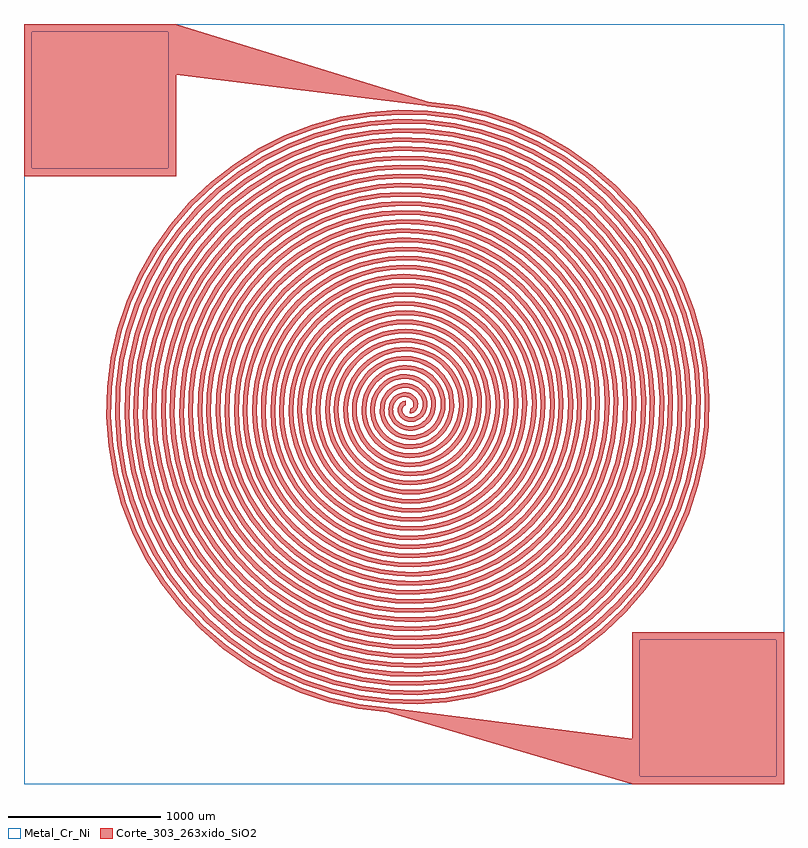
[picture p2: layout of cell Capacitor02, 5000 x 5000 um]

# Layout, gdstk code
from math import pi, radians
import gdstk
lib = gdstk.Library(unit=1e-6, precision=1e-06)
def P(c, l, *ps):  # polygons
    for p in ps: c.add(gdstk.Polygon(p, *l))
Corte_303_263xido_SiO2 = (1, 0)
Metal_Cr_Ni = (2, 0)

spiral_2 = lib.new_cell('Spiral$2')
spiral_2.add(gdstk.FlexPath([(30,0),(32,3),(33,7),(34,10),(35,14),(35,19),(34,23),(33,27),(32,32),(30,36),(27,41),(24,45),(20,49),(16,52),(11,55),(6,58),(0,60),(-6,62),(-12,63),(-19,63),(-26,62),(-33,61),(-40,59),(-46,57),(-53,53),(-59,49),(-65,44),(-71,38),(-76,32),(-81,24),(-85,17),(-88,9),(-90,0),(-91,-9),(-92,-18),(-92,-28),(-90,-37),(-88,-47),(-84,-56),(-80,-65),(-74,-74),(-68,-83),(-60,-90),(-52,-98),(-43,-104),(-33,-109),(-23,-114),(-12,-118),(0,-120),(12,-121),(24,-121),(36,-120),(49,-118),(61,-114),(73,-109),(84,-103),(95,-95),(106,-87),(115,-77),(124,-66),(132,-55),(138,-42),(143,-29),(147,-15),(150,0),(151,15),(151,30),(149,45),(146,60),(141,75),(134,90),(126,103),(117,117),(106,129),(94,140),(80,150),(66,159),(51,167),(34,173),(17,177),(0,180),(-18,181),(-36,180),(-54,178),(-72,173),(-89,167),(-106,159),(-123,149),(-138,138),(-152,125),(-165,110),(-177,95),(-187,77),(-196,59),(-202,40),(-207,20),(-210,0),(-211,-21),(-210,-42),(-206,-63),(-201,-83),(-193,-103),(-184,-123),(-172,-142),(-159,-159),(-144,-175),(-127,-190),(-109,-203),(-89,-215),(-68,-224),(-46,-232),(-23,-237),(0,-240),(24,-241),(48,-239),(71,-235),(95,-229),(118,-220),(140,-209),(161,-196),(180,-180),(199,-163),(215,-144),(230,-123),(243,-100),(253,-77),(261,-52),(267,-26),(270,0),(271,27),(268,53),(264,80),(256,106),(246,132),(234,156),(219,180),(202,202),(182,222),(160,240),(137,256),(112,270),(85,282),(58,291),(29,297),(0,300),(-30,300),(-59,298),(-89,292),(-118,284),(-146,273),(-173,259),(-199,242),(-223,223),(-245,201),(-265,177),(-283,151),(-298,123),(-310,94),(-320,64),(-327,32),(-330,0),(-330,-33),(-327,-65),(-321,-97),(-312,-129),(-299,-160),(-284,-190),(-265,-218),(-244,-244),(-220,-268),(-194,-290),(-165,-309),(-135,-326),(-103,-339),(-70,-349),(-35,-356),(0,-360),(35,-360),(71,-357),(106,-350),(141,-340),(174,-326),(206,-309),(237,-288),(265,-265),(291,-239),(315,-210),(336,-179),(353,-146),(368,-112),(379,-75),(386,-38),(390,0),(390,38),(386,77),(379,115),(367,152),(352,188),(334,223),(312,256),(286,286),(258,315),(227,340),(194,362),(158,381),(120,397),(81,408),(41,416),(0,420),(-41,420),(-83,416),(-124,407),(-164,395),(-202,379),(-240,359),(-275,335),(-308,308),(-338,277),(-365,244),(-389,208),(-409,169),(-425,129),(-438,87),(-446,44),(-450,0),(-450,-44),(-445,-89),(-436,-132),(-423,-175),(-405,-217),(-384,-256),(-358,-294),(-329,-329),(-296,-361),(-260,-390),(-222,-415),(-181,-437),(-138,-454),(-93,-467),(-47,-476),(0,-480),(47,-480),(94,-474),(141,-465),(187,-450),(231,-432),(273,-408),(313,-381),(350,-350),(384,-315),(415,-277),(442,-236),(464,-192),(483,-146),(497,-99),(506,-50),(510,0),(509,50),(504,100),(493,150),(478,198),(458,245),(433,290),(404,332),(371,371),(334,407),(294,440),(250,468),(204,492),(155,511),(105,526),(53,536),(0,540),(-53,539),(-106,533),(-158,522),(-210,506),(-259,485),(-306,458),(-351,428),(-392,392),(-430,353),(-465,310),(-494,264),(-520,215),(-540,164),(-555,110),(-565,56),(-570,0),(-569,-56),(-563,-112),(-551,-167),(-534,-221),(-511,-273),(-483,-323),(-451,-370),(-414,-414),(-372,-454),(-327,-490),(-278,-521),(-227,-547),(-173,-569),(-116,-585),(-59,-595),(0,-600),(59,-599),(118,-592),(176,-580),(232,-561),(287,-537),(340,-508),(389,-474),(435,-435),(477,-391),(514,-344),(547,-293),(575,-238),(597,-181),(614,-122),(625,-62),(630,0),(629,62),(622,124),(608,185),(589,244),(564,301),(533,356),(497,408),(456,456),(410,500),(360,539),(307,574),(250,603),(190,626),(128,644),(65,655),(0,660),(-65,659),(-129,651),(-193,637),(-255,617),(-316,590),(-373,558),(-427,520),(-477,477),(-523,429),(-564,377),(-600,321),(-631,261),(-655,199),(-673,134),(-685,67),(-690,0),(-689,-68),(-680,-135),(-666,-202),(-644,-267),(-617,-330),(-583,-390),(-544,-446),(-499,-499),(-448,-546),(-394,-589),(-335,-627),(-273,-658),(-207,-684),(-140,-702),(-70,-715),(0,-720),(71,-718),(141,-710),(211,-694),(278,-672),(344,-643),(406,-608),(465,-567),(520,-520),(570,-467),(614,-410),(653,-349),(686,-284),(712,-216),(732,-146),(745,-73),(750,0),(748,74),(739,147),(723,219),(700,290),(670,358),(633,423),(590,484),(541,541),(487,593),(427,639),(363,680),(296,714),(225,741),(151,761),(76,774),(0,780),(-77,778),(-153,769),(-228,752),(-301,728),(-372,696),(-440,658),(-503,613),(-562,562),(-616,506),(-664,444),(-706,377),(-741,307),(-770,233),(-791,157),(-804,79),(-810,0),(-808,-80),(-798,-159),(-781,-237),(-755,-313),(-723,-386),(-683,-456),(-636,-522),(-583,-583),(-525,-639),(-460,-689),(-392,-733),(-319,-769),(-242,-798),(-163,-820),(-82,-834),(0,-840),(83,-838),(165,-828),(245,-809),(324,-783),(400,-749),(473,-708),(541,-659),(605,-605),(662,-544),(714,-477),(759,-406),(797,-330),(827,-251),(850,-169),(864,-85),(870,0),(868,85),(857,170),(838,254),(811,336),(776,415),(733,490),(683,560),(626,626),(563,686),(494,739),(420,785),(342,825),(260,856),(175,879),(88,894),(0,900),(-88,898),(-176,886),(-263,867),(-347,838),(-429,802),(-506,758),(-579,706),(-647,647),(-709,582),(-764,510),(-812,434),(-852,353),(-885,268),(-908,181),(-924,91),(-930,0),(-927,-91),(-916,-182),(-895,-272),(-866,-359),(-828,-443),(-783,-523),(-729,-598),(-668,-668),(-601,-732),(-527,-789),(-448,-838),(-365,-880),(-277,-913),(-187,-938),(-94,-954),(0,-960),(94,-957),(188,-945),(280,-924),(370,-894),(457,-855),(540,-808),(617,-752),(689,-689),(755,-620),(814,-544),(865,-462),(908,-376),(942,-286),(967,-192),(983,-97),(990,0),(987,97),(975,194),(953,289),(922,382),(881,471),(833,556),(775,636),(711,711),(639,778),(560,839),(476,891),(387,935),(294,971),(198,997),(100,1013),(0,1020),(-100,1017),(-200,1004),(-298,981),(-393,949),(-485,908),(-573,857),(-655,799),(-732,732),(-802,658),(-864,577),(-918,491),(-963,399),(-999,303),(-1026,204),(-1043,103),(-1050,0),(-1047,-103),(-1034,-206),(-1010,-306),(-977,-405),(-934,-499),(-882,-590),(-822,-674),(-753,-753),(-677,-825),(-594,-889),(-505,-944),(-410,-991),(-312,-1028),(-210,-1056),(-106,-1073),(0,-1080),(106,-1077),(211,-1063),(315,-1039),(416,-1005),(514,-961),(606,-907),(693,-845),(774,-774),(848,-696),(914,-610),(971,-519),(1019,-422),(1057,-321),(1085,-216),(1103,-109),(1110,0),(1107,109),(1092,217),(1068,324),(1032,428),(987,528),(932,623),(868,713),(795,795),(715,871),(627,939),(533,997),(433,1046),(329,1086),(222,1114),(112,1133),(0,1140),(-112,1136),(-223,1122),(-333,1096),(-439,1060),(-542,1014),(-640,957),(-732,891),(-817,817),(-894,734),(-963,644),(-1024,547),(-1074,445),(-1114,338),(-1144,228),(-1163,114),(-1170,0),(-1166,-115),(-1151,-229),(-1125,-341),(-1088,-451),(-1040,-556),(-982,-656),(-915,-751),(-838,-838),(-753,-917),(-660,-988),(-561,-1050),(-456,-1102),(-347,-1143),(-233,-1173),(-117,-1192),(0,-1200),(118,-1196),(235,-1181),(350,-1154),(462,-1116),(570,-1067),(673,-1007),(770,-938),(859,-859),(941,-772),(1013,-677),(1076,-575),(1129,-468),(1172,-355),(1203,-239),(1222,-120),(1230,0),(1226,121),(1210,241),(1182,359),(1143,474),(1093,584),(1032,690),(961,789),(880,880),(791,964),(694,1038),(590,1103),(479,1157),(364,1200),(245,1232),(123,1252),(0,1260),(-124,1256),(-247,1239),(-367,1211),(-485,1171),(-598,1119),(-706,1057),(-808,984),(-902,902),(-987,810),(-1063,710),(-1129,604),(-1185,491),(-1229,373),(-1262,251),(-1282,126),(-1290,0),(-1286,-127),(-1269,-252),(-1240,-376),(-1199,-497),(-1146,-613),(-1082,-723),(-1007,-827),(-923,-923),(-829,-1010),(-727,-1088),(-618,-1156),(-502,-1213),(-382,-1258),(-257,-1291),(-129,-1312),(0,-1320),(130,-1316),(258,-1298),(385,-1269),(508,-1226),(627,-1172),(740,-1107),(846,-1031),(944,-944),(1033,-848),(1113,-744),(1182,-632),(1240,-514),(1286,-390),(1320,-263),(1342,-132),(1350,0),(1345,133),(1328,264),(1297,394),(1254,519),(1199,641),(1132,756),(1054,865),(965,965),(867,1057),(760,1138),(646,1209),(525,1268),(399,1315),(268,1350),(135,1371),(0,1380),(-135,1375),(-270,1357),(-402,1326),(-531,1282),(-655,1225),(-773,1157),(-884,1077),(-986,986),(-1080,886),(-1163,777),(-1235,660),(-1296,537),(-1344,408),(-1379,274),(-1401,138),(-1410,0),(-1405,-138),(-1387,-276),(-1355,-411),(-1310,-542),(-1252,-669),(-1182,-790),(-1100,-903),(-1008,-1008),(-905,-1103),(-794,-1188),(-674,-1262),(-548,-1323),(-416,-1373),(-280,-1409),(-141,-1431),(0,-1440),(141,-1435),(282,-1416),(420,-1383),(554,-1337),(683,-1278),(806,-1207),(922,-1123),(1029,-1029),(1126,-924),(1213,-810),(1288,-689),(1351,-560),(1401,-425),(1438,-286),(1461,-144),(1470,0),(1465,144),(1445,288),(1412,428),(1365,565),(1305,697),(1232,823),(1146,941),(1050,1050),(943,1149),(827,1238),(703,1315),(571,1379),(434,1430),(292,1468),(147,1491),(0,1500),(-147,1495),(-293,1475),(-437,1441),(-577,1393),(-712,1331),(-840,1257),(-960,1170),(-1071,1071),(-1173,962),(-1263,844),(-1341,717),(-1407,583),(-1459,443),(-1497,298),(-1521,150),(-1530,0),(-1524,-150),(-1504,-299),(-1470,-446),(-1420,-588),(-1358,-726),(-1282,-856),(-1193,-979),(-1092,-1092),(-981,-1196),(-860,-1288),(-731,-1368),(-594,-1434),(-451,-1487),(-304,-1526),(-153,-1551),(0,-1560),(153,-1554),(305,-1534),(454,-1498),(600,-1448),(740,-1384),(873,-1306),(998,-1216),(1114,-1114),(1219,-1000),(1313,-877),(1394,-745),(1462,-606),(1516,-460),(1556,-309),(1580,-156),(1590,0),(1584,156),(1563,311),(1527,463),(1476,611),(1411,754),(1331,890),(1239,1017),(1135,1135),(1019,1242),(894,1338),(759,1420),(617,1490),(469,1545),(315,1585),(159,1610),(0,1620),(-159,1614),(-317,1593),(-472,1556),(-623,1504),(-768,1437),(-906,1356),(-1036,1262),(-1156,1156),(-1265,1038),(-1363,910),(-1447,773),(-1517,629),(-1574,477),(-1615,321),(-1640,162),(-1650,0),(-1644,-162),(-1622,-323),(-1584,-481),(-1531,-634),(-1463,-782),(-1381,-923),(-1286,-1055),(-1177,-1177),(-1057,-1289),(-927,-1388),(-788,-1473),(-640,-1545),(-486,-1602),(-327,-1644),(-164,-1670),(0,-1680),(165,-1674),(328,-1651),(489,-1613),(646,-1559),(796,-1490),(940,-1406),(1074,-1309),(1199,-1199),(1312,-1076),(1412,-944),(1500,-802),(1573,-652),(1631,-495),(1673,-333),(1700,-167),(1710,0),(1704,168),(1681,334),(1642,498),(1587,657),(1516,811),(1431,956),(1332,1093),(1220,1220),(1096,1335),(960,1437),(816,1526),(663,1601),(503,1660),(339,1703),(170,1730),(0,1740),(-171,1733),(-340,1710),(-507,1670),(-669,1614),(-825,1543),(-973,1456),(-1112,1355),(-1241,1241),(-1358,1115),(-1462,977),(-1553,830),(-1628,674),(-1688,512),(-1732,345),(-1760,173),(-1770,0),(-1763,-174),(-1740,-346),(-1699,-515),(-1642,-680),(-1569,-839),(-1481,-990),(-1378,-1131),(-1262,-1262),(-1134,-1381),(-994,-1487),(-844,-1579),(-686,-1656),(-521,-1717),(-350,-1762),(-176,-1789),(0,-1800),(177,-1793),(352,-1769),(524,-1728),(692,-1670),(853,-1596),(1006,-1506),(1150,-1402),(1283,-1283),(1404,-1153),(1512,-1010),(1606,-858),(1684,-697),(1746,-530),(1791,-356),(1819,-179),(1830,0),(1823,180),(1799,358),(1757,533),(1698,703),(1622,867),(1531,1023),(1425,1169),(1305,1305),(1172,1428),(1027,1537),(872,1632),(709,1711),(538,1775),(362,1821),(182,1849),(0,1860),(-182,1853),(-364,1828),(-542,1785),(-715,1725),(-881,1649),(-1040,1556),(-1188,1448),(-1326,1326),(-1451,1191),(-1562,1044),(-1659,887),(-1739,720),(-1803,547),(-1850,368),(-1879,185),(-1890,0),(-1883,-185),(-1857,-369),(-1814,-550),(-1753,-726),(-1675,-895),(-1581,-1056),(-1471,-1207),(-1347,-1347),(-1210,-1474),(-1060,-1587),(-901,-1685),(-732,-1767),(-556,-1832),(-374,-1879),(-188,-1909),(0,-1920),(188,-1913),(375,-1887),(559,-1843),(738,-1781),(910,-1702),(1073,-1606),(1226,-1494),(1368,-1368),(1497,-1229),(1612,-1077),(1711,-915),(1795,-743),(1861,-564),(1909,-380),(1939,-191),(1950,0),(1942,191),(1916,381),(1871,568),(1808,749),(1728,924),(1631,1090),(1518,1245),(1389,1389),(1248,1520),(1094,1637),(929,1738),(755,1822),(573,1889),(386,1938),(194,1969),(0,1980),(-194,1972),(-387,1946),(-576,1900),(-761,1836),(-938,1754),(-1106,1656),(-1264,1541),(-1411,1411),(-1544,1267),(-1662,1110)], 30, ends="flush", simple_path=True, layer=1, datatype=0))  # Corte_303_263xido_SiO2

capacitor02 = lib.new_cell('Capacitor02')
P(capacitor02, Corte_303_263xido_SiO2, [(462018,-11936),(462018,-10936),(463018,-10936),(463018,-10937),(464688,-11451),(464687,-11478),(463018,-11271),(463018,-11936)],
  [(466018,-15936),(464364,-15451),(464367,-15429),(466018,-15638),(466018,-14936),(467018,-14936),(467018,-15936)])
P(capacitor02, Metal_Cr_Ni, [(462018,-15936),(462018,-14986),(466068,-14986),(466068,-15886),(466968,-15886),(466968,-14986),(462018,-14986),(462018,-10986),(462068,-10986),(462068,-11886),(462968,-11886),(462968,-10986),(462018,-10986),(462018,-10936),(467018,-10936),(467018,-15936)])
capacitor02.add(gdstk.Reference(spiral_2, (464545,-13456), rotation=radians(120)))
capacitor02.add(gdstk.Reference(spiral_2, (464542,-13456), rotation=radians(300)))

lib.write_gds('Capacitor02.gds')
